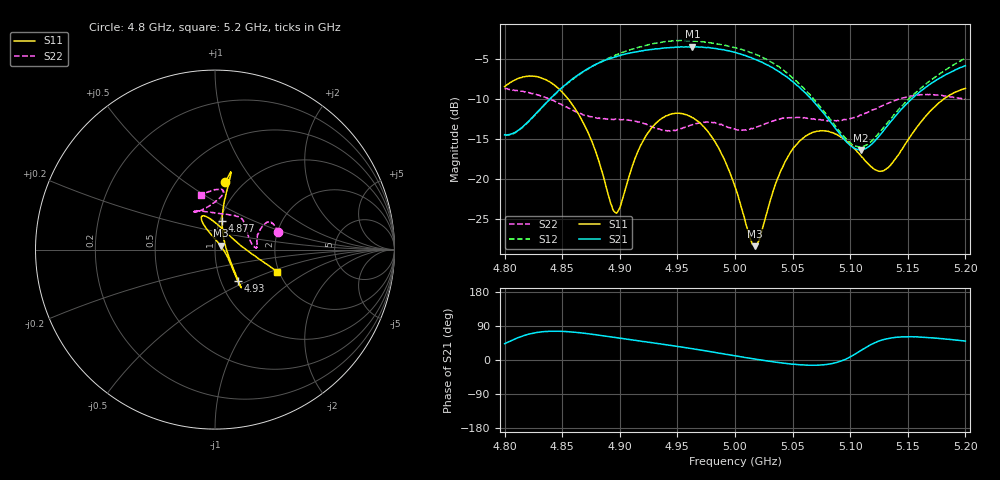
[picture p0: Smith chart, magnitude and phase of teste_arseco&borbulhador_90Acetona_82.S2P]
! Network Analyzer HP8722D
! Hewlett-Packard
! Data name: Linha & Wilkinson
! Saver's name: Rodrigo Anjos
! Comments: Teste da utilização de aquisição
! continua pelo VNA HP8722D
! Time and date: 17/4/2025 11:44
!  Frequency  S11  S21  S12  S22
# HZ  S  MA R 50
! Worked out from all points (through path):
!   401 points, 4.8 GHz to 5.2 GHz, reference 50 ohm
!   highest |S21| = -3.46 dB at 4.963 GHz (marker M1); lowest = -16.4 dB at 5.109 GHz (marker M2)
!   lowest |S11| = -28.4 dB at 5.017 GHz (marker M3), VSWR 1.08, Z = 53.2 + j2.3 ohm
!   |S11| at or under -10 dB: 4.855 GHz to 5.181 GHz (325.9 MHz wide, 6.49 % of centre)
!   |S22| runs from -14.0 to -8.7 dB; largest |S21 - S12| = 0.24
!   S11 on the Smith chart (normalised r, x): 4.8 GHz: 0.83, +0.73; 4.877 GHz: 1.03, +0.33; 4.93 GHz: 1.21, -0.45; 5.2 GHz: 1.96, -0.56
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4.8e9  0.3781 81.4  0.1895 43.0  0.1885 3.6  0.3668 15.4
4.834e9  0.423 78.1  0.2896 74.9  0.2876 38.5  0.3266 27.8
4.851e9  0.3434 78.6  0.3799 75.4  0.3771 41.8  0.2884 25.6
4.867e9  0.2339 78.8  0.4636 71.2  0.461 41.4  0.256 20.0
4.877e9  0.1631 75.7  0.5119 67.5  0.5108 40.3  0.2431 15.4
4.892e9  0.07071 44.2  0.5684 61.3  0.5771 38.0  0.2365 8.7
4.897e9  0.06122 13.2  0.5821 58.7  0.5986 37.3  0.2372 6.2
4.916e9  0.1507 -46.6  0.627 50.5  0.6659 33.0  0.2273 2.6
4.93e9  0.2185 -53.3  0.6491 44.6  0.7037 28.9  0.2092 7.4
4.934e9  0.2326 -54.2  0.6528 42.9  0.714 27.7  0.206 10.5
4.963e9  0.242 -55.1  0.6711 29.7  0.7301 16.6  0.2189 40.3
4.983e9  0.1697 -50.2  0.6547 20.0  0.7036 8.9  0.2247 55.0
5e9  0.08987 -34.3  0.6199 11.1  0.6636 2.8  0.2055 73.8
5.017e9  0.03812 34.5  0.5614 2.6  0.6039 -3.5  0.2101 96.7
5.044e9  0.1305 112.6  0.4393 -9.0  0.4673 -12.3  0.2405 116.4
5.067e9  0.1955 112.9  0.3127 -13.9  0.3244 -13.6  0.2375 118.5
5.087e9  0.1914 105.3  0.2081 -7.5  0.2155 -3.4  0.2319 110.1
5.109e9  0.1406 84.5  0.1522 24.5  0.1592 31.8  0.2521 95.2
5.123e9  0.1134 55.4  0.178 47.8  0.1869 56.6  0.276 87.1
5.134e9  0.1201 26.4  0.2227 57.3  0.2322 67.6  0.3005 83.2
5.171e9  0.2729 -14.0  0.3995 58.5  0.4196 76.3  0.3354 86.3
5.2e9  0.3688 -19.5  0.5109 49.9  0.5692 73.6  0.3152 104.2
